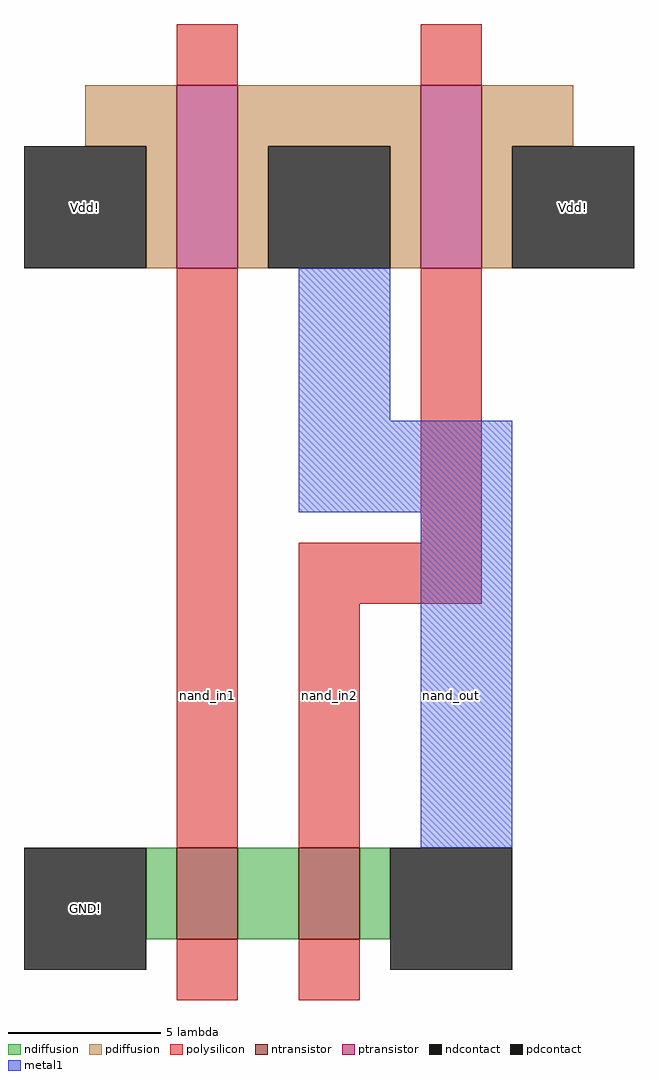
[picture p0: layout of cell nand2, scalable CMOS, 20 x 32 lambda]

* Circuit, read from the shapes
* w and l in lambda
.subckt nand2 GND! Vdd! nand_in1 nand_in2 nand_out
M1 n1 nand_in1 GND! VSUBS nfet w=3 l=2
M2 nand_out nand_in2 n1 VSUBS nfet w=3 l=2
M3 nand_out nand_in1 Vdd! NWELL pfet w=6 l=2
M4 Vdd! nand_in2 nand_out NWELL pfet w=6 l=2
.ends

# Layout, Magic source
magic
tech scmos
<< polysilicon >>
rect -39 22 -37 24
rect -31 22 -29 24
rect -39 -3 -37 16
rect -31 7 -29 16
rect -35 5 -29 7
rect -35 -3 -33 5
rect -39 -8 -37 -6
rect -35 -8 -33 -6
<< ndiffusion >>
rect -40 -6 -39 -3
rect -37 -6 -35 -3
rect -33 -6 -32 -3
<< pdiffusion >>
rect -42 20 -39 22
rect -40 16 -39 20
rect -37 20 -31 22
rect -37 16 -36 20
rect -32 16 -31 20
rect -29 20 -26 22
rect -29 16 -28 20
<< metal1 >>
rect -35 11 -32 16
rect -35 8 -28 11
rect -31 -3 -28 8
<< ntransistor >>
rect -39 -6 -37 -3
rect -35 -6 -33 -3
<< ptransistor >>
rect -39 16 -37 22
rect -31 16 -29 22
<< ndcontact >>
rect -44 -7 -40 -3
rect -32 -7 -28 -3
<< pdcontact >>
rect -44 16 -40 20
rect -36 16 -32 20
rect -28 16 -24 20
<< labels >>
rlabel ndcontact -42 -5 -42 -5 4 GND!
rlabel pdcontact -42 18 -42 18 3 Vdd!
rlabel polysilicon -38 2 -38 2 1 nand_in1
rlabel polysilicon -34 2 -34 2 1 nand_in2
rlabel metal1 -30 2 -30 2 1 nand_out
rlabel pdcontact -26 18 -26 18 3 Vdd!
<< end >>
